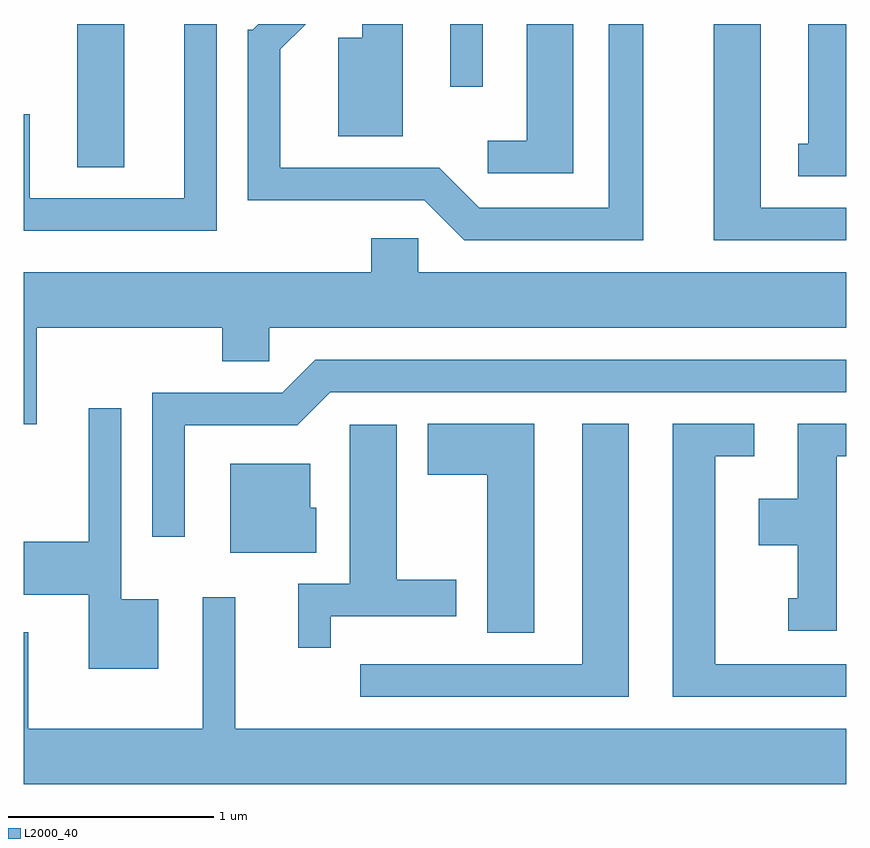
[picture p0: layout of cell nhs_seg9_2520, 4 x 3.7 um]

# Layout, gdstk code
import gdstk
lib = gdstk.Library(unit=1e-6, precision=1e-09)
def R(c, l, rs):  # rectangles x0, y0, x1, y1
    for r in rs: c.add(gdstk.rectangle(r[:2], r[2:], *l))
def P(c, l, *ps):  # polygons
    for p in ps: c.add(gdstk.Polygon(p, *l))
L2000_40 = (2000, 40)

nhs_seg9_2520 = lib.new_cell('nhs_seg9_2520')
R(nhs_seg9_2520, L2000_40, [(259.871,1963.736,260.099,1964.432), (261.686,1964.128,261.844,1964.432)])
P(nhs_seg9_2520, L2000_40, [(262.624,1964.432),(262.456,1964.432),(262.456,1963.539),(261.827,1963.539),(261.632,1963.734),(260.859,1963.734),(260.859,1964.309),(260.982,1964.432),(260.752,1964.432),(260.724,1964.404),(260.701,1964.404),(260.701,1963.576),(261.558,1963.576),(261.754,1963.381),(262.624,1963.381)],
  [(262.284,1964.432),(262.056,1964.432),(262.056,1963.864),(261.868,1963.864),(261.868,1963.706),(262.284,1963.706)],
  [(260.549,1964.432),(260.391,1964.432),(260.391,1963.584),(259.639,1963.584),(259.639,1963.994),(259.611,1963.994),(259.611,1963.426),(260.549,1963.426)],
  [(261.454,1964.432),(261.256,1964.432),(261.256,1964.364),(261.141,1964.364),(261.141,1963.886),(261.454,1963.886)],
  [(263.611,1963.539),(263.194,1963.539),(263.194,1964.432),(262.966,1964.432),(262.966,1963.381),(263.611,1963.381)],
  [(263.611,1964.432),(263.426,1964.432),(263.426,1963.849),(263.378,1963.849),(263.378,1963.691),(263.611,1963.691)],
  [(259.674,1962.956),(260.576,1962.956),(260.576,1962.791),(260.804,1962.791),(260.804,1962.956),(263.611,1962.956),(263.611,1963.224),(261.529,1963.224),(261.529,1963.389),(261.301,1963.389),(261.301,1963.224),(259.611,1963.224),(259.611,1962.486),(259.674,1962.486)],
  [(260.394,1962.481),(260.942,1962.481),(261.102,1962.641),(263.611,1962.641),(263.611,1962.799),(261.029,1962.799),(260.868,1962.639),(260.236,1962.639),(260.236,1961.938),(260.394,1961.938)],
  [(260.264,1961.634),(260.084,1961.634),(260.084,1962.563),(259.926,1962.563),(259.926,1961.914),(259.611,1961.914),(259.611,1961.656),(259.926,1961.656),(259.926,1961.296),(260.264,1961.296)],
  [(263.564,1962.331),(263.611,1962.331),(263.611,1962.489),(263.376,1962.489),(263.376,1962.124),(263.186,1962.124),(263.186,1961.896),(263.376,1961.896),(263.376,1961.639),(263.328,1961.639),(263.328,1961.481),(263.564,1961.481)],
  [(262.094,1962.489),(261.576,1962.489),(261.576,1962.241),(261.866,1962.241),(261.866,1961.471),(262.094,1961.471)],
  [(262.554,1962.489),(262.326,1962.489),(262.326,1961.319),(261.248,1961.319),(261.248,1961.161),(262.554,1961.161)],
  [(263.611,1961.319),(262.974,1961.319),(262.974,1962.331),(263.163,1962.331),(263.163,1962.489),(262.766,1962.489),(262.766,1961.161),(263.611,1961.161)],
  [(261.104,1961.551),(261.714,1961.551),(261.714,1961.729),(261.424,1961.729),(261.424,1962.484),(261.196,1962.484),(261.196,1961.709),(260.946,1961.709),(260.946,1961.398),(261.104,1961.398)],
  [(261.034,1962.079),(261.004,1962.079),(261.004,1962.294),(260.616,1962.294),(260.616,1961.861),(261.034,1961.861)],
  [(263.611,1961.004),(260.639,1961.004),(260.639,1961.643),(260.481,1961.643),(260.481,1961.004),(259.634,1961.004),(259.634,1961.473),(259.611,1961.473),(259.611,1960.736),(263.611,1960.736)])

lib.write_gds('nhs_seg9_2520.gds')
